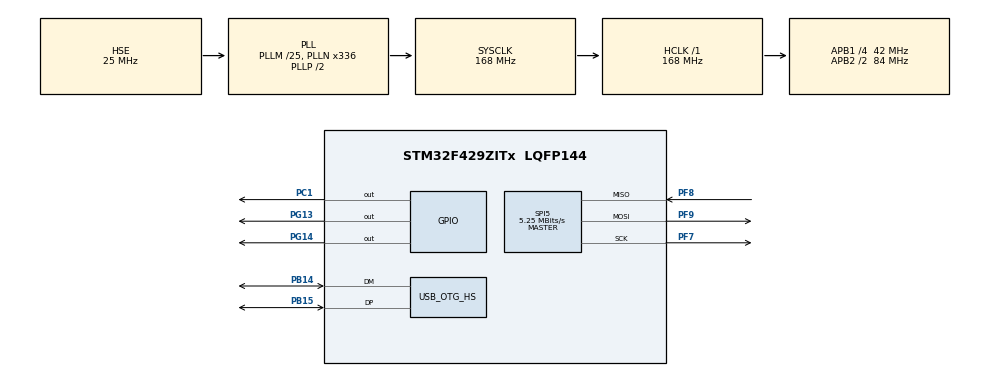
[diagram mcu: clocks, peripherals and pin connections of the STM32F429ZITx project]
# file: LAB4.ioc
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FREERTOS.Tasks01=Task01,24,256,StartTask01,Default,NULL,Dynamic,NULL,NULL;Task02,24,128,StartTask02,Default,NULL,Dynamic,NULL,NULL
FREERTOS.configUSE_NEWLIB_REENTRANT=1
Mcu.Family=STM32F4
Mcu.Name=STM32F429ZITx
Mcu.Package=LQFP144
NVIC.OTG_HS_IRQn=true\:5\:0\:false\:false\:true\:true\:true\:true\:true
NVIC.PriorityGroup=NVIC_PRIORITYGROUP_4
NVIC.TIM6_DAC_IRQn=true\:15\:0\:false\:false\:true\:false\:false\:true\:true
NVIC.TimeBase=TIM6_DAC_IRQn
NVIC.TimeBaseIP=TIM6
PA13.Mode=Serial_Wire
PA13.Signal=SYS_JTMS-SWDIO
PA14.Mode=Serial_Wire
PA14.Signal=SYS_JTCK-SWCLK
PB14.Mode=Device_Only_FS
PB14.Signal=USB_OTG_HS_DM
PB15.Mode=Device_Only_FS
PB15.Signal=USB_OTG_HS_DP
PC1.Signal=GPIO_Output
PF7.Mode=Full_Duplex_Master
PF7.Signal=SPI5_SCK
PF8.Mode=Full_Duplex_Master
PF8.Signal=SPI5_MISO
PF9.Mode=Full_Duplex_Master
PF9.Signal=SPI5_MOSI
PG13.Signal=GPIO_Output
PG14.Signal=GPIO_Output
PH0/OSC_IN.Mode=HSE-External-Oscillator
PH0/OSC_IN.Signal=RCC_OSC_IN
PH1/OSC_OUT.Mode=HSE-External-Oscillator
PH1/OSC_OUT.Signal=RCC_OSC_OUT
ProjectManager.HeapSize=0x2000
ProjectManager.StackSize=0x400
ProjectManager.TargetToolchain=STM32CubeIDE
RCC.48MHZClocksFreq_Value=48000000
RCC.AHBFreq_Value=168000000
RCC.APB1CLKDivider=RCC_HCLK_DIV4
RCC.APB1Freq_Value=42000000
RCC.APB1TimFreq_Value=84000000
RCC.APB2CLKDivider=RCC_HCLK_DIV2
RCC.APB2Freq_Value=84000000
RCC.APB2TimFreq_Value=168000000
RCC.CortexFreq_Value=168000000
RCC.HCLKFreq_Value=168000000
RCC.HSE_VALUE=25000000
RCC.HSI_VALUE=16000000
RCC.LSE_VALUE=32768
RCC.PLLM=25
RCC.PLLN=336
RCC.PLLQ=7
RCC.SYSCLKFreq_VALUE=168000000
RCC.SYSCLKSource=RCC_SYSCLKSOURCE_PLLCLK
RCC.VCOOutputFreq_Value=336000000
SPI5.BaudRatePrescaler=SPI_BAUDRATEPRESCALER_16
SPI5.CalculateBaudRate=5.25 MBits/s
SPI5.Direction=SPI_DIRECTION_2LINES
SPI5.Mode=SPI_MODE_MASTER
SPI5.VirtualType=VM_MASTER
USB_DEVICE.CLASS_NAME_HS=CDC
USB_DEVICE.VirtualMode-CDC_HS=Cdc
USB_DEVICE.VirtualModeHS=Cdc_HS
USB_OTG_HS.VirtualMode-Device_Only_FS=Device_Only_FS
VP_FREERTOS_VS_CMSIS_V2.Mode=CMSIS_V2
VP_SYS_VS_tim6.Mode=TIM6
VP_USB_DEVICE_VS_USB_DEVICE_CDC_HS.Mode=CDC_HS
board=custom

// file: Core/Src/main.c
/* USER CODE BEGIN Header */
/**
  ******************************************************************************
  * @file           : main.c
  * @brief          : Main program body
  ******************************************************************************
  * @attention
  *
  * Copyright (c) 2023 STMicroelectronics.
  * All rights reserved.
  *
  * This software is licensed under terms that can be found in the LICENSE file
  * in the root directory of this software component.
  * If no LICENSE file comes with this software, it is provided AS-IS.
  *
  ******************************************************************************
  */
/* USER CODE END Header */
#include "main.h"
#include "cmsis_os.h"
#include "usb_device.h"

/* USER CODE BEGIN Includes */
//#include "stdio.h"
#include "stm32f429i_discovery_sdram.h"
#include "stm32f429i_discovery_lcd.h"
#include "stm32f429i_discovery_gyroscope.h"
#include "usb_device.h"
#include "usbd_cdc_if.h"
#include "usbd_desc.h"
/* USER CODE END Includes */

SPI_HandleTypeDef hspi5;
float xyz_data_float_ptr[3];
//volatile uint32_t x, y, z;
char str_x[12];
char str_y[12];
char str_z[12];

/* Definitions for Task01 */
osThreadId_t Task01Handle;
const osThreadAttr_t Task01_attributes = {
  .name = "Task01",
  .stack_size = 256 * 4,
  .priority = (osPriority_t) osPriorityNormal,
};
/* Definitions for Task02 */
osThreadId_t Task02Handle;
const osThreadAttr_t Task02_attributes = {
  .name = "Task02",
  .stack_size = 128 * 4,
  .priority = (osPriority_t) osPriorityNormal,
};

void SystemClock_Config(void);
static void MX_GPIO_Init(void);
static void MX_SPI5_Init(void);
void StartTask01(void *argument);
void StartTask02(void *argument);

int main(void)
{

  /* MCU Configuration--------------------------------------------------------*/

  /* Reset of all peripherals, Initializes the Flash interface and the Systick. */
  HAL_Init();

  /* Configure the system clock */
  SystemClock_Config();

  /* Initialize all configured peripherals */
  MX_GPIO_Init();
  MX_USB_DEVICE_Init();
  MX_SPI5_Init();
  /* USER CODE BEGIN 2 */
  BSP_GYRO_Init();
  BSP_SDRAM_Init();
  BSP_LCD_Init();//init LCD
  //set the layer buffer address into SDRAM
  BSP_LCD_LayerDefaultInit(1, SDRAM_DEVICE_ADDR);
  BSP_LCD_SelectLayer(1);//select on which layer we write
  BSP_LCD_DisplayOn();//turn on LCD
  BSP_LCD_Clear(LCD_COLOR_BLUE);//clear the LCD on blue color
  BSP_LCD_SetBackColor(LCD_COLOR_BLUE);//set text background color
  BSP_LCD_SetTextColor(LCD_COLOR_WHITE);//set text color
  /* USER CODE END 2 */

  /* Init scheduler */
  osKernelInitialize();

  /* Create the thread(s) */
  /* creation of Task01 */
  Task01Handle = osThreadNew(StartTask01, NULL, &Task01_attributes);

  /* creation of Task02 */
  Task02Handle = osThreadNew(StartTask02, NULL, &Task02_attributes);

  /* Start scheduler */
  osKernelStart();
  /* We should never get here as control is now taken by the scheduler */
  /* Infinite loop */
  /* USER CODE BEGIN WHILE */
  while (1)
  {
	  BSP_GYRO_GetXYZ(xyz_data_float_ptr);

	  sprintf(str_x, "%.3f", xyz_data_float_ptr[0]);
	  sprintf(str_y, "%.3f", xyz_data_float_ptr[1]);
	  sprintf(str_z, "%.3f", xyz_data_float_ptr[2]);

	  CDC_Transmit_HS(str_x, strlen((char *)str_x));
	  CDC_Transmit_HS(str_y, strlen((char *)str_y));
	  CDC_Transmit_HS(str_z, strlen((char *)str_z));

    /* USER CODE END WHILE */

  }
}

void SystemClock_Config(void)
{
  RCC_OscInitTypeDef RCC_OscInitStruct = {0};
  RCC_ClkInitTypeDef RCC_ClkInitStruct = {0};

  /** Configure the main internal regulator output voltage
  */
  __HAL_RCC_PWR_CLK_ENABLE();
  __HAL_PWR_VOLTAGESCALING_CONFIG(PWR_REGULATOR_VOLTAGE_SCALE1);

  /** Initializes the RCC Oscillators according to the specified parameters
  * in the RCC_OscInitTypeDef structure.
  */
  RCC_OscInitStruct.OscillatorType = RCC_OSCILLATORTYPE_HSE;
  RCC_OscInitStruct.HSEState = RCC_HSE_ON;
  RCC_OscInitStruct.PLL.PLLState = RCC_PLL_ON;
  RCC_OscInitStruct.PLL.PLLSource = RCC_PLLSOURCE_HSE;
  RCC_OscInitStruct.PLL.PLLM = 25;
  RCC_OscInitStruct.PLL.PLLN = 336;
  RCC_OscInitStruct.PLL.PLLP = RCC_PLLP_DIV2;
  RCC_OscInitStruct.PLL.PLLQ = 7;
  if (HAL_RCC_OscConfig(&RCC_OscInitStruct) != HAL_OK)
  {
    Error_Handler();
  }

  /** Initializes the CPU, AHB and APB buses clocks
  */
  RCC_ClkInitStruct.ClockType = RCC_CLOCKTYPE_HCLK|RCC_CLOCKTYPE_SYSCLK
                              |RCC_CLOCKTYPE_PCLK1|RCC_CLOCKTYPE_PCLK2;
  RCC_ClkInitStruct.SYSCLKSource = RCC_SYSCLKSOURCE_PLLCLK;
  RCC_ClkInitStruct.AHBCLKDivider = RCC_SYSCLK_DIV1;
  RCC_ClkInitStruct.APB1CLKDivider = RCC_HCLK_DIV4;
  RCC_ClkInitStruct.APB2CLKDivider = RCC_HCLK_DIV2;

  if (HAL_RCC_ClockConfig(&RCC_ClkInitStruct, FLASH_LATENCY_5) != HAL_OK)
  {
    Error_Handler();
  }
}

static void MX_SPI5_Init(void)
{

  /* SPI5 parameter configuration*/
  hspi5.Instance = SPI5;
  hspi5.Init.Mode = SPI_MODE_MASTER;
  hspi5.Init.Direction = SPI_DIRECTION_2LINES;
  hspi5.Init.DataSize = SPI_DATASIZE_8BIT;
  hspi5.Init.CLKPolarity = SPI_POLARITY_LOW;
  hspi5.Init.CLKPhase = SPI_PHASE_1EDGE;
  hspi5.Init.NSS = SPI_NSS_SOFT;
  hspi5.Init.BaudRatePrescaler = SPI_BAUDRATEPRESCALER_16;
  hspi5.Init.FirstBit = SPI_FIRSTBIT_MSB;
  hspi5.Init.TIMode = SPI_TIMODE_DISABLE;
  hspi5.Init.CRCCalculation = SPI_CRCCALCULATION_DISABLE;
  hspi5.Init.CRCPolynomial = 10;
  if (HAL_SPI_Init(&hspi5) != HAL_OK)
  {
    Error_Handler();
  }

}

static void MX_GPIO_Init(void)
{
  GPIO_InitTypeDef GPIO_InitStruct = {0};

  /* GPIO Ports Clock Enable */
  __HAL_RCC_GPIOF_CLK_ENABLE();
  __HAL_RCC_GPIOH_CLK_ENABLE();
  __HAL_RCC_GPIOC_CLK_ENABLE();
  __HAL_RCC_GPIOB_CLK_ENABLE();
  __HAL_RCC_GPIOA_CLK_ENABLE();
  __HAL_RCC_GPIOG_CLK_ENABLE();

  /*Configure GPIO pin Output Level */
  HAL_GPIO_WritePin(GPIOC, GPIO_PIN_1, GPIO_PIN_RESET);

  /*Configure GPIO pin Output Level */
  HAL_GPIO_WritePin(GPIOG, GPIO_PIN_13|GPIO_PIN_14, GPIO_PIN_RESET);

  /*Configure GPIO pin : PC1 */
  GPIO_InitStruct.Pin = GPIO_PIN_1;
  GPIO_InitStruct.Mode = GPIO_MODE_OUTPUT_PP;
  GPIO_InitStruct.Pull = GPIO_NOPULL;
  GPIO_InitStruct.Speed = GPIO_SPEED_FREQ_LOW;
  HAL_GPIO_Init(GPIOC, &GPIO_InitStruct);

  /*Configure GPIO pins : PG13 PG14 */
  GPIO_InitStruct.Pin = GPIO_PIN_13|GPIO_PIN_14;
  GPIO_InitStruct.Mode = GPIO_MODE_OUTPUT_PP;
  GPIO_InitStruct.Pull = GPIO_NOPULL;
  GPIO_InitStruct.Speed = GPIO_SPEED_FREQ_LOW;
  HAL_GPIO_Init(GPIOG, &GPIO_InitStruct);

}

void StartTask01(void *argument)
{
  /* init code for USB_DEVICE */
  MX_USB_DEVICE_Init();
  /* USER CODE BEGIN 5 */
  /* Infinite loop */
  for(;;)
  {
	  HAL_GPIO_TogglePin(GPIOG, GPIO_PIN_13);
	  osDelay(1000);
    //osDelay(1);
  }
  /* USER CODE END 5 */
}

void StartTask02(void *argument)
{
  /* USER CODE BEGIN StartTask02 */
  /* Infinite loop */
  for(;;)
  {
	  HAL_GPIO_TogglePin(GPIOG, GPIO_PIN_14);
	  osDelay(2000);
    //osDelay(1);
  }
  /* USER CODE END StartTask02 */
}

void HAL_TIM_PeriodElapsedCallback(TIM_HandleTypeDef *htim)
{
  if (htim->Instance == TIM6) {
    HAL_IncTick();
  }
}

void Error_Handler(void)
{
  __disable_irq();
  while (1)
  {
  }
}
